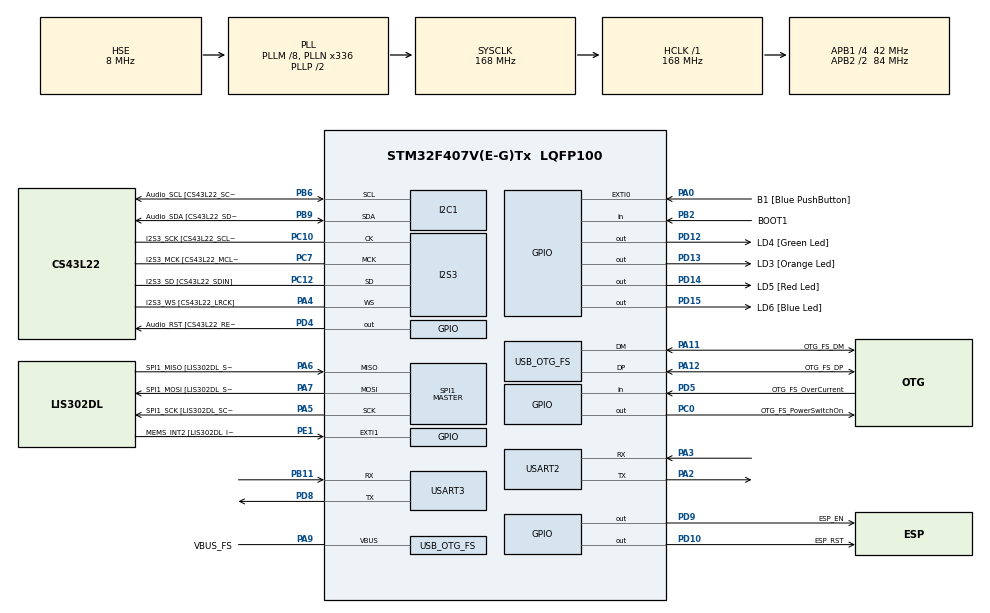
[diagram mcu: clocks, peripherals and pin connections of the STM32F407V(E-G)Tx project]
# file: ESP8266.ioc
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Dma.Request0=USART2_RX
Dma.Request1=USART2_TX
Dma.Request2=USART3_RX
Dma.Request3=USART3_TX
Dma.USART2_RX.0.Direction=DMA_PERIPH_TO_MEMORY
Dma.USART2_RX.0.FIFOMode=DMA_FIFOMODE_DISABLE
Dma.USART2_RX.0.Instance=DMA1_Stream5
Dma.USART2_RX.0.MemDataAlignment=DMA_MDATAALIGN_BYTE
Dma.USART2_RX.0.MemInc=DMA_MINC_ENABLE
Dma.USART2_RX.0.Mode=DMA_NORMAL
Dma.USART2_RX.0.PeriphDataAlignment=DMA_PDATAALIGN_BYTE
Dma.USART2_RX.0.PeriphInc=DMA_PINC_DISABLE
Dma.USART2_RX.0.Priority=DMA_PRIORITY_LOW
Dma.USART2_TX.1.Direction=DMA_MEMORY_TO_PERIPH
Dma.USART2_TX.1.FIFOMode=DMA_FIFOMODE_DISABLE
Dma.USART2_TX.1.Instance=DMA1_Stream6
Dma.USART2_TX.1.MemDataAlignment=DMA_MDATAALIGN_BYTE
Dma.USART2_TX.1.MemInc=DMA_MINC_ENABLE
Dma.USART2_TX.1.Mode=DMA_NORMAL
Dma.USART2_TX.1.PeriphDataAlignment=DMA_PDATAALIGN_BYTE
Dma.USART2_TX.1.PeriphInc=DMA_PINC_DISABLE
Dma.USART2_TX.1.Priority=DMA_PRIORITY_LOW
Dma.USART3_RX.2.Direction=DMA_PERIPH_TO_MEMORY
Dma.USART3_RX.2.FIFOMode=DMA_FIFOMODE_DISABLE
Dma.USART3_RX.2.Instance=DMA1_Stream1
Dma.USART3_RX.2.MemDataAlignment=DMA_MDATAALIGN_BYTE
Dma.USART3_RX.2.MemInc=DMA_MINC_ENABLE
Dma.USART3_RX.2.Mode=DMA_NORMAL
Dma.USART3_RX.2.PeriphDataAlignment=DMA_PDATAALIGN_BYTE
Dma.USART3_RX.2.PeriphInc=DMA_PINC_DISABLE
Dma.USART3_RX.2.Priority=DMA_PRIORITY_LOW
Dma.USART3_TX.3.Direction=DMA_MEMORY_TO_PERIPH
Dma.USART3_TX.3.FIFOMode=DMA_FIFOMODE_DISABLE
Dma.USART3_TX.3.Instance=DMA1_Stream3
Dma.USART3_TX.3.MemDataAlignment=DMA_MDATAALIGN_BYTE
Dma.USART3_TX.3.MemInc=DMA_MINC_ENABLE
Dma.USART3_TX.3.Mode=DMA_NORMAL
Dma.USART3_TX.3.PeriphDataAlignment=DMA_PDATAALIGN_BYTE
Dma.USART3_TX.3.PeriphInc=DMA_PINC_DISABLE
Dma.USART3_TX.3.Priority=DMA_PRIORITY_LOW
I2S3.AudioFreq-Half_Duplex_Master=I2S_AUDIOFREQ_96K
I2S3.ErrorAudioFreq=-2.34 %
I2S3.ErrorAudioFreq-Half_Duplex_Master=0.8 %
I2S3.FullDuplexMode=I2S_FULLDUPLEXMODE_DISABLE
I2S3.Instance=SPI$Index
I2S3.RealAudioFreq=93.75 KHz
I2S3.RealAudioFreq-Half_Duplex_Master=96.774 KHz
I2S3.VirtualMode=I2S_MODE_MASTER
Mcu.Family=STM32F4
Mcu.Name=STM32F407V(E-G)Tx
Mcu.Package=LQFP100
NVIC.DMA1_Stream1_IRQn=true\:0\:0\:false\:false\:true\:false\:true
NVIC.DMA1_Stream3_IRQn=true\:0\:0\:false\:false\:true\:false\:true
NVIC.DMA1_Stream5_IRQn=true\:0\:0\:false\:false\:true\:false\:true
NVIC.DMA1_Stream6_IRQn=true\:0\:0\:false\:false\:true\:false\:true
NVIC.EXTI0_IRQn=true\:0\:0\:false\:false\:true\:true\:true
NVIC.OTG_FS_IRQn=true\:0\:0\:false\:false\:true\:true\:true
NVIC.PriorityGroup=NVIC_PRIORITYGROUP_0
NVIC.USART2_IRQn=true\:0\:0\:false\:false\:true\:true\:true
NVIC.USART3_IRQn=true\:0\:0\:false\:false\:true\:true\:true
PA0-WKUP.GPIO_Label=B1 [Blue PushButton]
PA0-WKUP.Signal=GPXTI0
PA10.GPIO_Label=OTG_FS_ID
PA10.GPIO_Mode=GPIO_MODE_AF_PP
PA10.GPIO_PuPd=GPIO_NOPULL
PA10.GPIO_Speed=GPIO_SPEED_FREQ_LOW
PA10.Signal=USB_OTG_FS_ID
PA11.GPIO_Label=OTG_FS_DM
PA11.GPIO_Mode=GPIO_MODE_AF_PP
PA11.GPIO_PuPd=GPIO_NOPULL
PA11.GPIO_Speed=GPIO_SPEED_FREQ_LOW
PA11.Mode=Host_Only
PA11.Signal=USB_OTG_FS_DM
PA12.GPIO_Label=OTG_FS_DP
PA12.GPIO_Mode=GPIO_MODE_AF_PP
PA12.GPIO_PuPd=GPIO_NOPULL
PA12.GPIO_Speed=GPIO_SPEED_FREQ_LOW
PA12.Mode=Host_Only
PA12.Signal=USB_OTG_FS_DP
PA13.GPIO_Label=SWDIO
PA13.Mode=Serial_Wire
PA13.Signal=SYS_JTMS-SWDIO
PA14.GPIO_Label=SWCLK
PA14.Mode=Serial_Wire
PA14.Signal=SYS_JTCK-SWCLK
PA2.Mode=Asynchronous
PA2.Signal=USART2_TX
PA3.Mode=Asynchronous
PA3.Signal=USART2_RX
PA4.GPIO_Label=I2S3_WS [CS43L22_LRCK]
PA4.GPIO_Mode=GPIO_MODE_AF_PP
PA4.GPIO_PuPd=GPIO_NOPULL
PA4.GPIO_Speed=GPIO_SPEED_FREQ_LOW
PA4.Mode=Half_Duplex_Master
PA4.Signal=I2S3_WS
PA5.GPIO_Label=SPI1_SCK [LIS302DL_SCL/SPC]
PA5.GPIO_Mode=GPIO_MODE_AF_PP
PA5.GPIO_PuPd=GPIO_NOPULL
PA5.GPIO_Speed=GPIO_SPEED_FREQ_LOW
PA5.Mode=Full_Duplex_Master
PA5.Signal=SPI1_SCK
PA6.GPIO_Label=SPI1_MISO [LIS302DL_SDO]
PA6.GPIO_Mode=GPIO_MODE_AF_PP
PA6.GPIO_PuPd=GPIO_NOPULL
PA6.GPIO_Speed=GPIO_SPEED_FREQ_LOW
PA6.Mode=Full_Duplex_Master
PA6.Signal=SPI1_MISO
PA7.GPIO_Label=SPI1_MOSI [LIS302DL_SDA/SDI/SDO]
PA7.GPIO_Mode=GPIO_MODE_AF_PP
PA7.GPIO_PuPd=GPIO_NOPULL
PA7.GPIO_Speed=GPIO_SPEED_FREQ_LOW
PA7.Mode=Full_Duplex_Master
PA7.Signal=SPI1_MOSI
PA9.GPIO_Label=VBUS_FS
PA9.GPIO_Mode=GPIO_MODE_INPUT
PA9.GPIO_PuPd=GPIO_NOPULL
PA9.Mode=Activate_VBUS
PA9.Signal=USB_OTG_FS_VBUS
PB10.GPIO_Label=CLK_IN [MP45DT02_CLK]
PB10.GPIO_Mode=GPIO_MODE_AF_PP
PB10.GPIO_PuPd=GPIO_NOPULL
PB10.GPIO_Speed=GPIO_SPEED_FREQ_LOW
PB10.Signal=I2S2_CK
PB11.Mode=Asynchronous
PB11.Signal=USART3_RX
PB2.GPIO_Label=BOOT1
PB2.GPIO_Mode=GPIO_MODE_INPUT
PB2.GPIO_PuPd=GPIO_NOPULL
PB2.Signal=GPIO_Input
PB3.Signal=SYS_JTDO-SWO
PB6.GPIO_Label=Audio_SCL [CS43L22_SCL]
PB6.GPIO_Mode=GPIO_MODE_AF_OD
PB6.GPIO_PuPd=GPIO_NOPULL
PB6.GPIO_Speed=GPIO_SPEED_FREQ_LOW
PB6.Mode=I2C
PB6.Signal=I2C1_SCL
PB9.GPIO_Label=Audio_SDA [CS43L22_SDA]
PB9.GPIO_Mode=GPIO_MODE_AF_OD
PB9.GPIO_PuPd=GPIO_NOPULL
PB9.GPIO_Speed=GPIO_SPEED_FREQ_LOW
PB9.Mode=I2C
PB9.Signal=I2C1_SDA
PC0.GPIO_Label=OTG_FS_PowerSwitchOn
PC0.GPIO_PuPd=GPIO_NOPULL
PC0.GPIO_Speed=GPIO_SPEED_FREQ_LOW
PC0.PinState=GPIO_PIN_SET
PC0.Signal=GPIO_Output
PC10.GPIO_Label=I2S3_SCK [CS43L22_SCLK]
PC10.GPIO_Mode=GPIO_MODE_AF_PP
PC10.GPIO_PuPd=GPIO_NOPULL
PC10.GPIO_Speed=GPIO_SPEED_FREQ_LOW
PC10.Mode=Half_Duplex_Master
PC10.Signal=I2S3_CK
PC12.GPIO_Label=I2S3_SD [CS43L22_SDIN]
PC12.GPIO_Mode=GPIO_MODE_AF_PP
PC12.GPIO_PuPd=GPIO_NOPULL
PC12.GPIO_Speed=GPIO_SPEED_FREQ_LOW
PC12.Mode=Half_Duplex_Master
PC12.Signal=I2S3_SD
PC14-OSC32_IN.GPIO_Label=PC14-OSC32_IN
PC14-OSC32_IN.Mode=LSE-External-Oscillator
PC14-OSC32_IN.Signal=RCC_OSC32_IN
PC15-OSC32_OUT.GPIO_Label=PC15-OSC32_OUT
PC15-OSC32_OUT.Mode=LSE-External-Oscillator
PC15-OSC32_OUT.Signal=RCC_OSC32_OUT
PC3.GPIO_Label=PDM_OUT [MP45DT02_DOUT]
PC3.GPIO_Mode=GPIO_MODE_AF_PP
PC3.GPIO_PuPd=GPIO_NOPULL
PC3.GPIO_Speed=GPIO_SPEED_FREQ_LOW
PC3.Signal=I2S2_SD
PC7.GPIO_Label=I2S3_MCK [CS43L22_MCLK]
PC7.GPIO_Mode=GPIO_MODE_AF_PP
PC7.GPIO_PuPd=GPIO_NOPULL
PC7.GPIO_Speed=GPIO_SPEED_FREQ_LOW
PC7.Mode=Master_Clock_Activated
PC7.Signal=I2S3_MCK
PD10.GPIO_Label=ESP_RST
PD10.Signal=GPIO_Output
PD12.GPIO_Label=LD4 [Green Led]
PD12.GPIO_PuPd=GPIO_NOPULL
PD12.GPIO_Speed=GPIO_SPEED_FREQ_LOW
PD12.Signal=GPIO_Output
PD13.GPIO_Label=LD3 [Orange Led]
PD13.GPIO_PuPd=GPIO_NOPULL
PD13.GPIO_Speed=GPIO_SPEED_FREQ_LOW
PD13.Signal=GPIO_Output
PD14.GPIO_Label=LD5 [Red Led]
PD14.GPIO_PuPd=GPIO_NOPULL
PD14.GPIO_Speed=GPIO_SPEED_FREQ_LOW
PD14.Signal=GPIO_Output
PD15.GPIO_Label=LD6 [Blue Led]
PD15.GPIO_PuPd=GPIO_NOPULL
PD15.GPIO_Speed=GPIO_SPEED_FREQ_LOW
PD15.Signal=GPIO_Output
PD4.GPIO_Label=Audio_RST [CS43L22_RESET]
PD4.GPIO_PuPd=GPIO_NOPULL
PD4.GPIO_Speed=GPIO_SPEED_FREQ_LOW
PD4.Signal=GPIO_Output
PD5.GPIO_Label=OTG_FS_OverCurrent
PD5.GPIO_Mode=GPIO_MODE_INPUT
PD5.GPIO_PuPd=GPIO_NOPULL
PD5.Signal=GPIO_Input
PD8.Mode=Asynchronous
PD8.Signal=USART3_TX
PD9.GPIO_Label=ESP_EN
PD9.PinState=GPIO_PIN_SET
PD9.Signal=GPIO_Output
PE1.GPIO_Label=MEMS_INT2 [LIS302DL_INT2]
PE1.GPIO_ModeDefaultEXTI=GPIO_MODE_EVT_RISING
PE1.GPIO_PuPd=GPIO_NOPULL
PE1.Signal=GPXTI1
PH0-OSC_IN.GPIO_Label=PH0-OSC_IN
PH0-OSC_IN.Mode=HSE-External-Oscillator
PH0-OSC_IN.Signal=RCC_OSC_IN
PH1-OSC_OUT.GPIO_Label=PH1-OSC_OUT
PH1-OSC_OUT.Mode=HSE-External-Oscillator
PH1-OSC_OUT.Signal=RCC_OSC_OUT
ProjectManager.HeapSize=0x200
ProjectManager.StackSize=0x400
ProjectManager.TargetToolchain=STM32CubeIDE
RCC.48MHZClocksFreq_Value=48000000
RCC.AHBFreq_Value=168000000
RCC.APB1CLKDivider=RCC_HCLK_DIV4
RCC.APB1Freq_Value=42000000
RCC.APB1TimFreq_Value=84000000
RCC.APB2CLKDivider=RCC_HCLK_DIV2
RCC.APB2Freq_Value=84000000
RCC.APB2TimFreq_Value=168000000
RCC.CortexFreq_Value=168000000
RCC.HCLKFreq_Value=168000000
RCC.HSE_VALUE=8000000
RCC.HSI_VALUE=16000000
RCC.PLLM=8
RCC.PLLN=336
RCC.PLLQ=7
RCC.SYSCLKFreq_VALUE=168000000
RCC.SYSCLKSource=RCC_SYSCLKSOURCE_PLLCLK
RCC.VCOOutputFreq_Value=336000000
SPI1.BaudRatePrescaler-Full_Duplex_Master=SPI_BAUDRATEPRESCALER_2
SPI1.CalculateBaudRate-Full_Duplex_Master=42.0 MBits/s
SPI1.Direction=SPI_DIRECTION_2LINES
SPI1.Mode=SPI_MODE_MASTER
SPI1.Mode-Full_Duplex_Master=SPI_MODE_MASTER
SPI1.VirtualType=VM_MASTER
USART2.VirtualMode=VM_ASYNC
USART3.VirtualMode=VM_ASYNC
USB_HOST.BSP.number=1
USB_HOST.USBH_HandleTypeDef-CDC_FS=hUsbHostFS
USB_HOST.VirtualModeFS=Cdc
USB_HOST0.BSP.STBoard=false
USB_HOST0.BSP.api=Unknown
USB_HOST0.BSP.i2caddr=0
USB_HOST0.BSP.i2creg=0
USB_HOST0.BSP.instance=PC0
USB_HOST0.BSP.ip=GPIO
USB_HOST0.BSP.mode=Output
USB_HOST0.BSP.name=Drive_VBUS_FS
USB_HOST0.BSP.solution=PC0
USB_OTG_FS.VirtualMode=Host_Only
USB_OTG_FS.phy_itface=HCD_PHY_EMBEDDED
VP_USB_HOST_VS_USB_HOST_CDC_FS.Mode=CDC_FS
board=STM32F407G-DISC1

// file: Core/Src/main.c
/* USER CODE BEGIN Header */
/**
 ******************************************************************************
 * @file           : main.c
 * @brief          : Main program body
 ******************************************************************************
 * @attention
 *
 * <h2><center>&copy; Copyright (c) 2021 STMicroelectronics.
 * All rights reserved.</center></h2>
 *
 * This software component is licensed by ST under Ultimate Liberty license
 * SLA0044, the "License"; You may not use this file except in compliance with
 * the License. You may obtain a copy of the License at:
 *                             www.st.com/SLA0044
 *
 ******************************************************************************
 */
/* USER CODE END Header */
#include "main.h"
#include "dma.h"
#include "i2c.h"
#include "i2s.h"
#include "spi.h"
#include "usart.h"
#include "usb_host.h"
#include "gpio.h"

/* USER CODE BEGIN Includes */

#include <stdio.h>
#include "esp8266_at.h"
#include "my_uart.h"
#include "MQTTPacket.h"
#include "IOT_ali.h"
#include "mqtt_test.h"

/* USER CODE END Includes */

void SystemClock_Config(void);
void MX_USB_HOST_Process(void);

int main(void)
{

  /* MCU Configuration--------------------------------------------------------*/

  /* Reset of all peripherals, Initializes the Flash interface and the Systick. */
  HAL_Init();

  /* Configure the system clock */
  SystemClock_Config();

  /* Initialize all configured peripherals */
  MX_GPIO_Init();
  MX_DMA_Init();
  MX_I2C1_Init();
  MX_I2S3_Init();
  MX_SPI1_Init();
  MX_USB_HOST_Init();
  MX_USART2_UART_Init();
  MX_USART3_UART_Init();
  /* USER CODE BEGIN 2 */

	UART2_DMA_IDLE_Start();
	UART3_DMA_IDLE_Start();

	ESP8266_Init();  //需要配置连接AP的ssid和password
	IOT_Connect();

  /* USER CODE END 2 */

  /* Infinite loop */
  /* USER CODE BEGIN WHILE */
	while (1)
	{
//		IoT_ping();
//		HAL_Delay(3000);
    /* USER CODE END WHILE */
    MX_USB_HOST_Process();

	}
}

void SystemClock_Config(void)
{
  RCC_OscInitTypeDef RCC_OscInitStruct = {0};
  RCC_ClkInitTypeDef RCC_ClkInitStruct = {0};
  RCC_PeriphCLKInitTypeDef PeriphClkInitStruct = {0};

  /** Configure the main internal regulator output voltage
  */
  __HAL_RCC_PWR_CLK_ENABLE();
  __HAL_PWR_VOLTAGESCALING_CONFIG(PWR_REGULATOR_VOLTAGE_SCALE1);
  /** Initializes the RCC Oscillators according to the specified parameters
  * in the RCC_OscInitTypeDef structure.
  */
  RCC_OscInitStruct.OscillatorType = RCC_OSCILLATORTYPE_HSE;
  RCC_OscInitStruct.HSEState = RCC_HSE_ON;
  RCC_OscInitStruct.PLL.PLLState = RCC_PLL_ON;
  RCC_OscInitStruct.PLL.PLLSource = RCC_PLLSOURCE_HSE;
  RCC_OscInitStruct.PLL.PLLM = 8;
  RCC_OscInitStruct.PLL.PLLN = 336;
  RCC_OscInitStruct.PLL.PLLP = RCC_PLLP_DIV2;
  RCC_OscInitStruct.PLL.PLLQ = 7;
  if (HAL_RCC_OscConfig(&RCC_OscInitStruct) != HAL_OK)
  {
    Error_Handler();
  }
  /** Initializes the CPU, AHB and APB buses clocks
  */
  RCC_ClkInitStruct.ClockType = RCC_CLOCKTYPE_HCLK|RCC_CLOCKTYPE_SYSCLK
                              |RCC_CLOCKTYPE_PCLK1|RCC_CLOCKTYPE_PCLK2;
  RCC_ClkInitStruct.SYSCLKSource = RCC_SYSCLKSOURCE_PLLCLK;
  RCC_ClkInitStruct.AHBCLKDivider = RCC_SYSCLK_DIV1;
  RCC_ClkInitStruct.APB1CLKDivider = RCC_HCLK_DIV4;
  RCC_ClkInitStruct.APB2CLKDivider = RCC_HCLK_DIV2;

  if (HAL_RCC_ClockConfig(&RCC_ClkInitStruct, FLASH_LATENCY_5) != HAL_OK)
  {
    Error_Handler();
  }
  PeriphClkInitStruct.PeriphClockSelection = RCC_PERIPHCLK_I2S;
  PeriphClkInitStruct.PLLI2S.PLLI2SN = 192;
  PeriphClkInitStruct.PLLI2S.PLLI2SR = 2;
  if (HAL_RCCEx_PeriphCLKConfig(&PeriphClkInitStruct) != HAL_OK)
  {
    Error_Handler();
  }
}

/* USER CODE BEGIN 4 */

void HAL_GPIO_EXTI_Callback(uint16_t GPIO_Pin) {

	if (GPIO_Pin == B1_Pin) {
		if (HAL_GPIO_ReadPin(B1_GPIO_Port, B1_Pin == GPIO_PIN_SET)) {
			HAL_GPIO_WritePin(LD3_GPIO_Port, LD3_Pin, SET);
			while (HAL_GPIO_ReadPin(B1_GPIO_Port, B1_Pin == GPIO_PIN_SET));
			HAL_GPIO_WritePin(LD3_GPIO_Port, LD3_Pin, RESET);
		}

	}

}

/* USER CODE END 4 */

void Error_Handler(void)
{
	__disable_irq();
	while (1)
	{
	}
}

/************************ (C) COPYRIGHT STMicroelectronics *****END OF FILE****/
